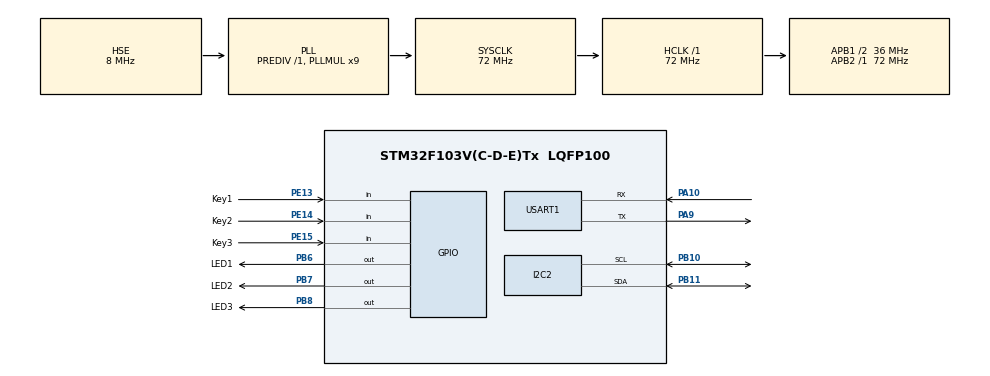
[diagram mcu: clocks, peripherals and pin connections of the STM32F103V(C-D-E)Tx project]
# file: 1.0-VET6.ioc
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Dma.I2C2_TX.0.Direction=DMA_MEMORY_TO_PERIPH
Dma.I2C2_TX.0.Instance=DMA1_Channel4
Dma.I2C2_TX.0.MemDataAlignment=DMA_MDATAALIGN_BYTE
Dma.I2C2_TX.0.MemInc=DMA_MINC_ENABLE
Dma.I2C2_TX.0.Mode=DMA_NORMAL
Dma.I2C2_TX.0.PeriphDataAlignment=DMA_PDATAALIGN_BYTE
Dma.I2C2_TX.0.PeriphInc=DMA_PINC_DISABLE
Dma.I2C2_TX.0.Priority=DMA_PRIORITY_MEDIUM
Dma.Request0=I2C2_TX
Dma.Request1=USART1_RX
Dma.USART1_RX.1.Direction=DMA_PERIPH_TO_MEMORY
Dma.USART1_RX.1.Instance=DMA1_Channel5
Dma.USART1_RX.1.MemDataAlignment=DMA_MDATAALIGN_BYTE
Dma.USART1_RX.1.MemInc=DMA_MINC_ENABLE
Dma.USART1_RX.1.Mode=DMA_NORMAL
Dma.USART1_RX.1.PeriphDataAlignment=DMA_PDATAALIGN_BYTE
Dma.USART1_RX.1.PeriphInc=DMA_PINC_DISABLE
Dma.USART1_RX.1.Priority=DMA_PRIORITY_LOW
I2C2.DutyCycle=I2C_DUTYCYCLE_2
I2C2.I2C_Mode=I2C_Fast
Mcu.Family=STM32F1
Mcu.Name=STM32F103V(C-D-E)Tx
Mcu.Package=LQFP100
NVIC.DMA1_Channel4_IRQn=true\:0\:0\:true\:false\:true\:false\:true\:true
NVIC.DMA1_Channel5_IRQn=true\:0\:0\:false\:false\:true\:false\:true\:true
NVIC.I2C2_ER_IRQn=true\:0\:0\:false\:false\:true\:true\:true\:true
NVIC.I2C2_EV_IRQn=true\:0\:0\:false\:false\:true\:true\:true\:true
NVIC.PriorityGroup=NVIC_PRIORITYGROUP_4
NVIC.TIM2_IRQn=true\:0\:0\:false\:false\:true\:true\:true\:true
NVIC.USART1_IRQn=true\:0\:0\:false\:false\:true\:true\:true\:true
OSC_IN.Mode=HSE-External-Oscillator
OSC_IN.Signal=RCC_OSC_IN
OSC_OUT.Mode=HSE-External-Oscillator
OSC_OUT.Signal=RCC_OSC_OUT
PA10.Mode=Asynchronous
PA10.Signal=USART1_RX
PA13.Mode=Serial_Wire
PA13.Signal=SYS_JTMS-SWDIO
PA14.Mode=Serial_Wire
PA14.Signal=SYS_JTCK-SWCLK
PA9.Mode=Asynchronous
PA9.Signal=USART1_TX
PB10.Mode=I2C
PB10.Signal=I2C2_SCL
PB11.Mode=I2C
PB11.Signal=I2C2_SDA
PB6.GPIO_Label=LED1
PB6.GPIO_Speed=GPIO_SPEED_FREQ_HIGH
PB6.Signal=GPIO_Output
PB7.GPIO_Label=LED2
PB7.GPIO_Speed=GPIO_SPEED_FREQ_HIGH
PB7.Signal=GPIO_Output
PB8.GPIO_Label=LED3
PB8.GPIO_Speed=GPIO_SPEED_FREQ_HIGH
PB8.Signal=GPIO_Output
PC14-OSC32_IN.Mode=LSE-External-Oscillator
PC14-OSC32_IN.Signal=RCC_OSC32_IN
PC15-OSC32_OUT.Mode=LSE-External-Oscillator
PC15-OSC32_OUT.Signal=RCC_OSC32_OUT
PE13.GPIO_Label=Key1
PE13.GPIO_PuPd=GPIO_PULLUP
PE13.Signal=GPIO_Input
PE14.GPIO_Label=Key2
PE14.GPIO_PuPd=GPIO_PULLUP
PE14.Signal=GPIO_Input
PE15.GPIO_Label=Key3
PE15.GPIO_PuPd=GPIO_PULLUP
PE15.Signal=GPIO_Input
ProjectManager.HeapSize=0x200
ProjectManager.StackSize=0x400
ProjectManager.TargetToolchain=MDK-ARM V5.32
RCC.AHBFreq_Value=72000000
RCC.APB1CLKDivider=RCC_HCLK_DIV2
RCC.APB1Freq_Value=36000000
RCC.APB1TimFreq_Value=72000000
RCC.APB2Freq_Value=72000000
RCC.APB2TimFreq_Value=72000000
RCC.HCLKFreq_Value=72000000
RCC.PLLMUL=RCC_PLL_MUL9
RCC.PLLSourceVirtual=RCC_PLLSOURCE_HSE
RCC.SYSCLKFreq_VALUE=72000000
RCC.SYSCLKSource=RCC_SYSCLKSOURCE_PLLCLK
RCC.USBFreq_Value=72000000
TIM2.Period=1000-1
TIM2.Prescaler=72-1
USART1.VirtualMode=VM_ASYNC
VP_TIM2_VS_ClockSourceINT.Mode=Internal
board=custom

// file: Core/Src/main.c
/* USER CODE BEGIN Header */
/**
 ******************************************************************************
 * @file           : main.c
 * @brief          : Main program body
 ******************************************************************************
 * @attention
 *
 * Copyright (c) 2026 STMicroelectronics.
 * All rights reserved.
 *
 * This software is licensed under terms that can be found in the LICENSE file
 * in the root directory of this software component.
 * If no LICENSE file comes with this software, it is provided AS-IS.
 *
 ******************************************************************************
 */
/* USER CODE END Header */
#include "main.h"
#include "dma.h"
#include "i2c.h"
#include "tim.h"
#include "usart.h"
#include "gpio.h"

/* USER CODE BEGIN Includes */
#include "OLED.h"
#include "math.h"
#include "KEY.h"
/* USER CODE END Includes */

/* USER CODE BEGIN PTD */
#define rx_buffer_len 128
uint8_t Rx_Buffer[rx_buffer_len];
uint8_t flag=0x00;
uint16_t size;
/* USER CODE END PTD */

void SystemClock_Config(void);

int main(void)
{

  /* USER CODE BEGIN 1 */

  uint32_t num1 = 0, num2 = 0;
  /* USER CODE END 1 */

  /* MCU Configuration--------------------------------------------------------*/

  /* Reset of all peripherals, Initializes the Flash interface and the Systick. */
  HAL_Init();

  /* Configure the system clock */
  SystemClock_Config();

  /* Initialize all configured peripherals */
  MX_GPIO_Init();
  MX_DMA_Init();
  MX_USART1_UART_Init();
  MX_I2C2_Init();
  MX_TIM2_Init();
  /* USER CODE BEGIN 2 */
  HAL_TIM_Base_Start_IT(&htim2);
  OLED_Init();
	HAL_UARTEx_ReceiveToIdle_DMA(&huart1,Rx_Buffer,rx_buffer_len);
	__HAL_DMA_DISABLE_IT(huart1.hdmarx,DMA_IT_HT);
  /* USER CODE END 2 */

  /* Infinite loop */
  while (1)
  {

    /* USER CODE BEGIN 3 */

		if(flag&(0x01<<0))
		{
			flag&=~(0x01<<0);
			char *s=(char *)Rx_Buffer;
			s[size]='\0';
			OLED_Clear();
			OLED_ShowString(0, 8, s, 6);
			OLED_Update();
		}

  }
  /* USER CODE END 3 */
}

void SystemClock_Config(void)
{
  RCC_OscInitTypeDef RCC_OscInitStruct = {0};
  RCC_ClkInitTypeDef RCC_ClkInitStruct = {0};

  /** Initializes the RCC Oscillators according to the specified parameters
  * in the RCC_OscInitTypeDef structure.
  */
  RCC_OscInitStruct.OscillatorType = RCC_OSCILLATORTYPE_HSE;
  RCC_OscInitStruct.HSEState = RCC_HSE_ON;
  RCC_OscInitStruct.HSEPredivValue = RCC_HSE_PREDIV_DIV1;
  RCC_OscInitStruct.HSIState = RCC_HSI_ON;
  RCC_OscInitStruct.PLL.PLLState = RCC_PLL_ON;
  RCC_OscInitStruct.PLL.PLLSource = RCC_PLLSOURCE_HSE;
  RCC_OscInitStruct.PLL.PLLMUL = RCC_PLL_MUL9;
  if (HAL_RCC_OscConfig(&RCC_OscInitStruct) != HAL_OK)
  {
    Error_Handler();
  }

  /** Initializes the CPU, AHB and APB buses clocks
  */
  RCC_ClkInitStruct.ClockType = RCC_CLOCKTYPE_HCLK|RCC_CLOCKTYPE_SYSCLK
                              |RCC_CLOCKTYPE_PCLK1|RCC_CLOCKTYPE_PCLK2;
  RCC_ClkInitStruct.SYSCLKSource = RCC_SYSCLKSOURCE_PLLCLK;
  RCC_ClkInitStruct.AHBCLKDivider = RCC_SYSCLK_DIV1;
  RCC_ClkInitStruct.APB1CLKDivider = RCC_HCLK_DIV2;
  RCC_ClkInitStruct.APB2CLKDivider = RCC_HCLK_DIV1;

  if (HAL_RCC_ClockConfig(&RCC_ClkInitStruct, FLASH_LATENCY_2) != HAL_OK)
  {
    Error_Handler();
  }
}

/* USER CODE BEGIN 4 */
void HAL_TIM_PeriodElapsedCallback(TIM_HandleTypeDef *htim)
{
  if (htim->Instance == TIM2)
  {
    KEY_Tick();
  }
}

void HAL_UARTEx_RxEventCallback(UART_HandleTypeDef *huart,uint16_t Size)
{
    if(huart->Instance == USART1)
    {
        HAL_UART_RxEventTypeTypeDef type;

        type = HAL_UARTEx_GetRxEventType(huart);

        if(type == HAL_UART_RXEVENT_IDLE)
        {

          flag|=(0x01<<0);

					size=Size;
        }

				HAL_UARTEx_ReceiveToIdle_DMA(&huart1,Rx_Buffer,rx_buffer_len);
    }
}
/* USER CODE END 4 */

void Error_Handler(void)
{
  __disable_irq();
  while (1)
  {
  }
}
